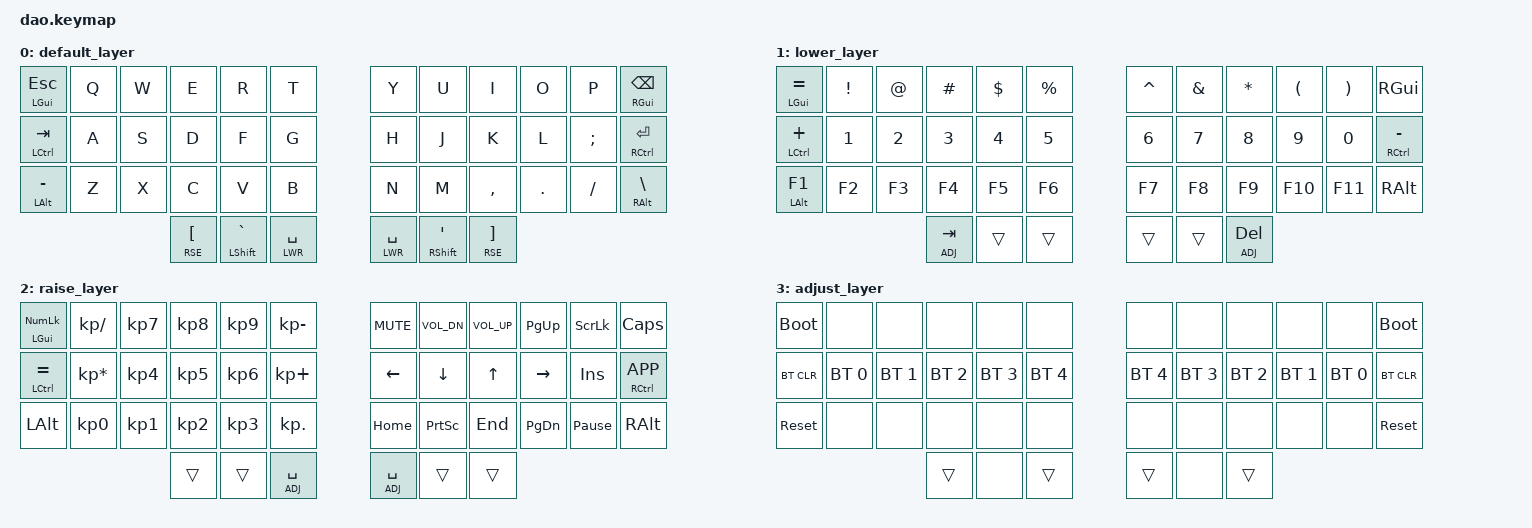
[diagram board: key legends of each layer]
/*
 * Copyright (c) 2021 Rafael Yumagulov
 *
 * SPDX-License-Identifier: MIT
 */

#include <behaviors.dtsi>
#include <dt-bindings/zmk/keys.h>
#include <dt-bindings/zmk/bt.h>

#define DEF 0
#define LWR 1
#define RSE 2
#define ADJ 3

&lt { quick_tap_ms = <200>; };
&mt { quick_tap_ms = <200>; };

/ {
    chosen {
        zmk,matrix_transform = &default_transform;
        // zmk,matrix_transform = &extra_keys_transform;
    };
};

/ {
        keymap {
                compatible = "zmk,keymap";

                default_layer {
                        bindings = <
          &mt LGUI ESC      &kp Q   &kp W   &kp E         &kp R             &kp T         &kp Y         &kp U            &kp I         &kp O     &kp P      &mt RGUI BSPC
          &mt LCTRL TAB     &kp A   &kp S   &kp D         &kp F             &kp G         &kp H         &kp J            &kp K         &kp L     &kp SEMI   &mt RCTRL RET
          &mt LALT MINUS    &kp Z   &kp X   &kp C         &kp V             &kp B         &kp N         &kp M            &kp COMMA     &kp DOT   &kp FSLH   &mt RALT BSLH
                                            &lt RSE LBKT  &mt LSHFT GRAVE   &lt LWR SPACE &lt LWR SPACE &mt RSHFT SQT     &lt RSE RBKT
                        >;
                };
                lower_layer {
                        bindings = <
          &mt LGUI EQUAL    &kp EXCL   &kp AT   &kp HASH      &kp DLLR   &kp PRCNT   &kp CARET   &kp AMPS   &kp STAR      &kp LPAR   &kp RPAR   &kp RGUI
          &mt LCTRL PLUS    &kp N1     &kp N2   &kp N3        &kp N4     &kp N5      &kp N6      &kp N7     &kp N8        &kp N9     &kp N0     &mt RCTRL MINUS
          &mt LALT F1       &kp F2     &kp F3   &kp F4        &kp F5     &kp F6      &kp F7      &kp F8     &kp F9        &kp F10    &kp F11    &kp RALT
                                               &lt ADJ TAB   &trans     &trans      &trans      &trans     &lt ADJ DEL
                        >;
                };

                raise_layer {
                        bindings = <
          &mt LGUI KP_NUM   &kp KP_SLASH      &kp KP_N7   &kp KP_N8   &kp KP_N9   &kp KP_MINUS   &kp C_MUTE     &kp C_VOL_DN &kp C_VOL_UP   &kp PG_UP   &kp SLCK          &kp CLCK
          &mt LCTRL EQUAL   &kp KP_MULTIPLY   &kp KP_N4   &kp KP_N5   &kp KP_N6   &kp KP_PLUS    &kp LEFT       &kp DOWN     &kp UP           &kp RIGHT   &kp INS           &mt RCTRL K_APP
          &kp LALT          &kp KP_N0         &kp KP_N1   &kp KP_N2   &kp KP_N3   &kp KP_DOT     &kp HOME       &kp PSCRN    &kp END          &kp PG_DN   &kp PAUSE_BREAK   &kp RALT
                                                          &trans      &trans      &lt ADJ SPACE     &lt ADJ SPACE      &trans     &trans
                        >;
                };
                adjust_layer {
                        bindings = <
 &bootloader   &none          &none          &none          &none          &none          &none          &none          &none          &none          &none          &bootloader
 &bt BT_CLR    &bt BT_SEL 0   &bt BT_SEL 1   &bt BT_SEL 2   &bt BT_SEL 3   &bt BT_SEL 4   &bt BT_SEL 4   &bt BT_SEL 3   &bt BT_SEL 2   &bt BT_SEL 1   &bt BT_SEL 0   &bt BT_CLR
 &sys_reset        &none          &none          &none          &none          &none          &none          &none          &none          &none          &none          &sys_reset
                                             &trans         &none          &trans         &trans         &none          &trans
                        >;
                };
        };
};
